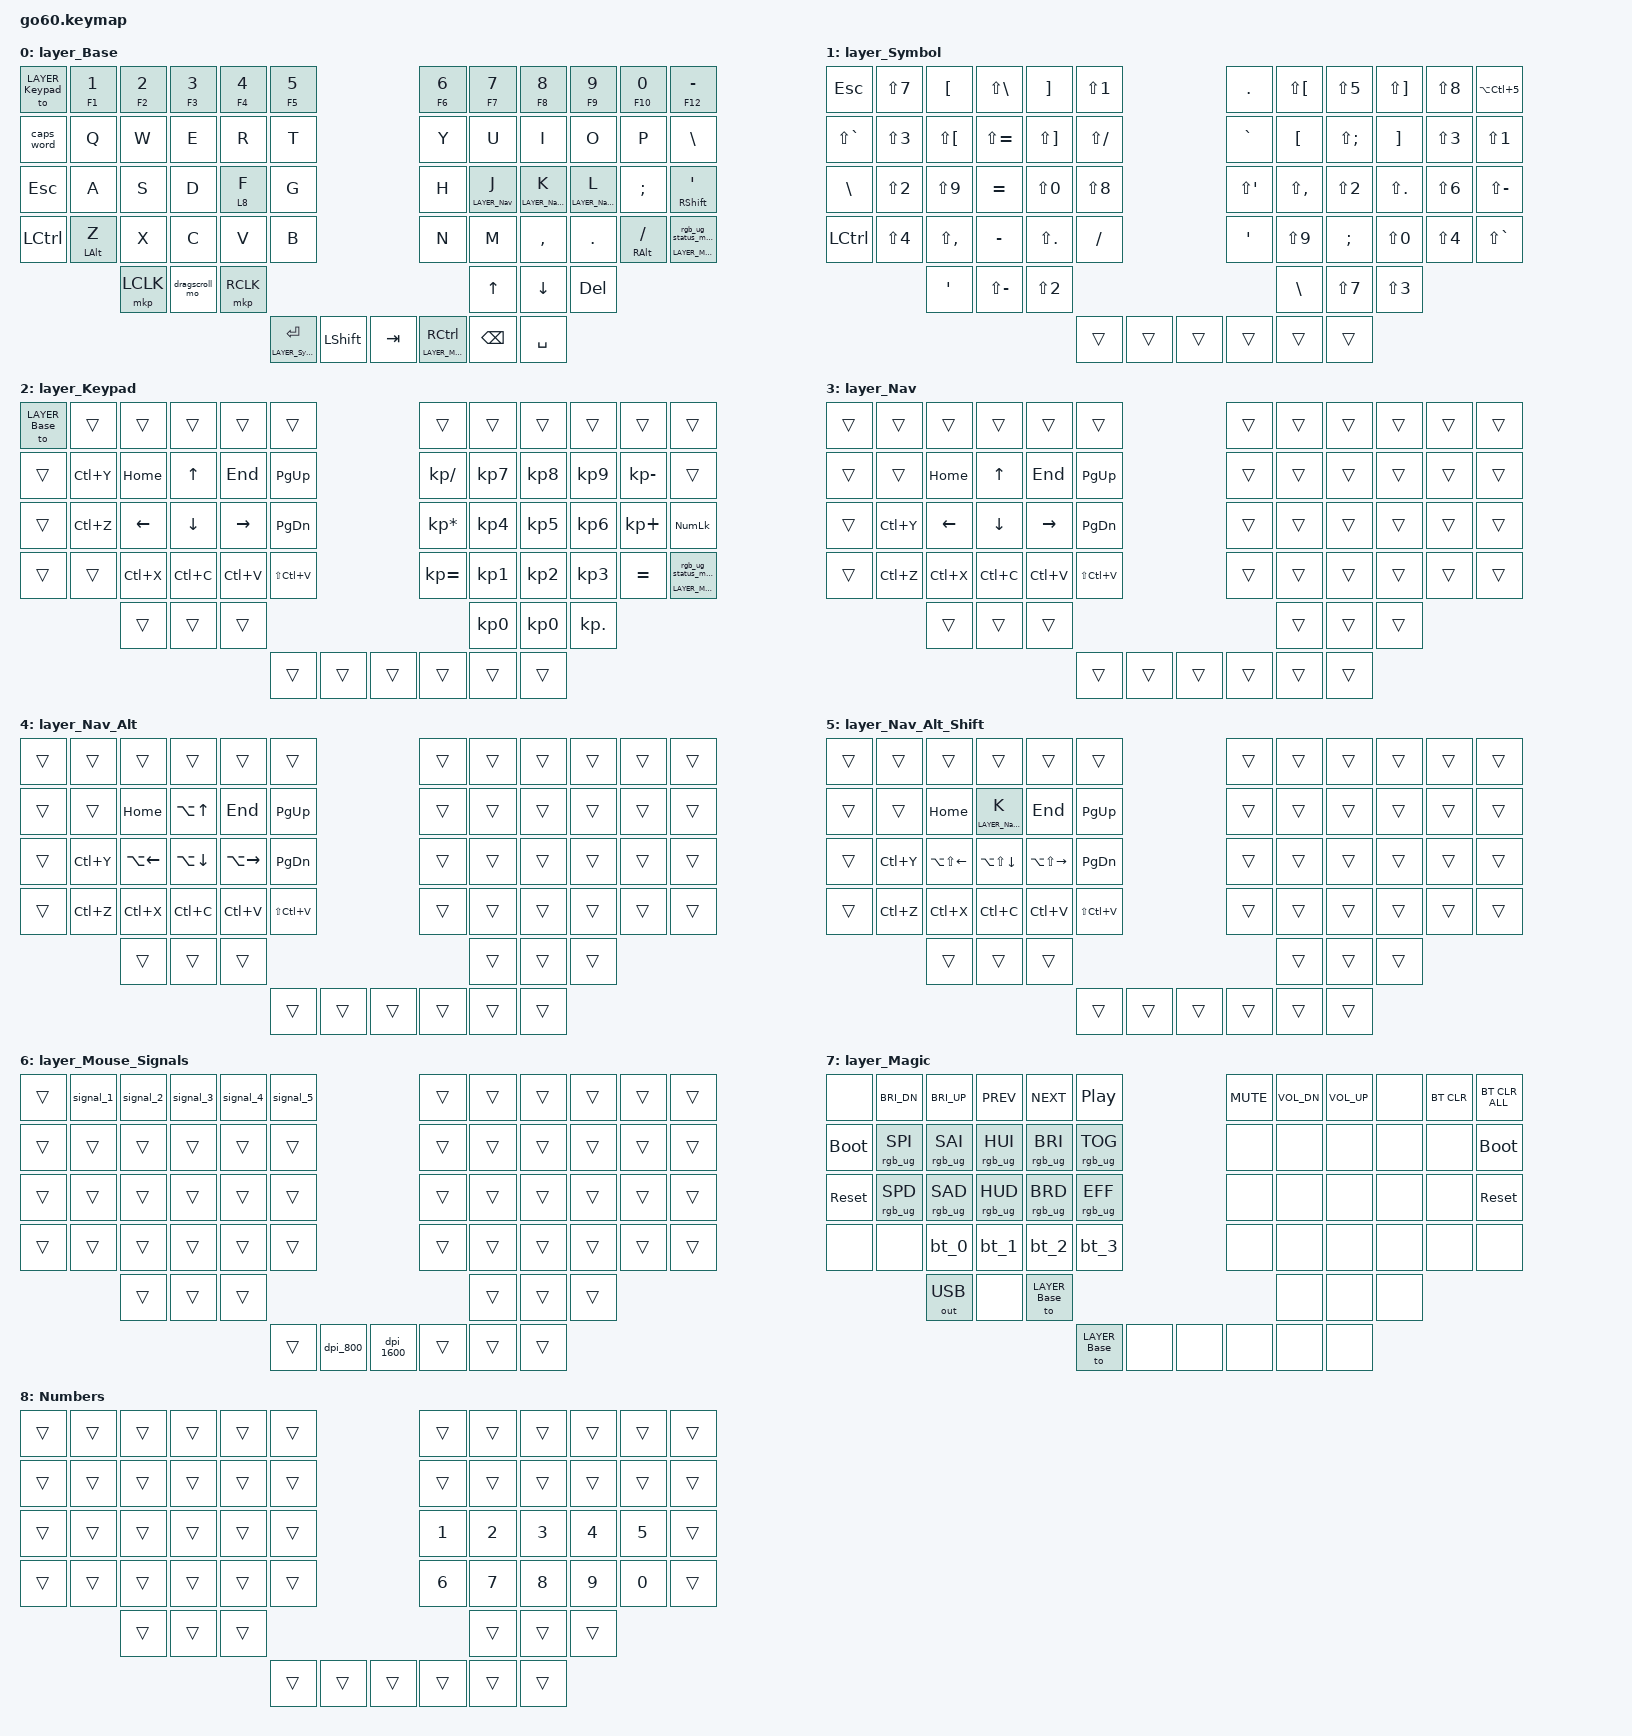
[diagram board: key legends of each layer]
/*
 * Copyright (c) 2020 The ZMK Contributors
 * Copyright (c) 2025 Innaworks Development Limited, trading as MoErgo
 *
 * SPDX-License-Identifier: MIT
 */


/* THIS FILE WAS GENERATED BY GO60 LAYOUT EDITOR
 *
 * This file was generated automatically. You may or may not want to
 * edit it directly.
 */

#include <behaviors.dtsi>

/* Include all behavior includes needed */

#include <dt-bindings/zmk/outputs.h>
#include <dt-bindings/zmk/keys.h>
#include <dt-bindings/zmk/bt.h>
#include <dt-bindings/zmk/rgb.h>

#include <input/processors.dtsi>
#include <dt-bindings/zmk/input_transform.h>
#include <zephyr/dt-bindings/input/input-event-codes.h>

/* On demand includes */
#include <dt-bindings/zmk/input_transform.h>
#include <dt-bindings/zmk/pointing.h>
#include <input/processors.dtsi>

/* Helper Macros, based on https://github.com/urob/zmk-helpers/ */

#pragma once

#define ZMK_HELPER_STRINGIFY(x) #x

// Preprocessor mechanism to overload macros, cf. https://stackoverflow.com/a/27051616/6114651
#define VARGS_(_10, _9, _8, _7, _6, _5, _4, _3, _2, _1, N, ...) N
#define VARGS(...) VARGS_(__VA_ARGS__, 10, 9, 8, 7, 6, 5, 4, 3, 2, 1, 0)
#define CONCAT_(a, b) a##b
#define CONCAT(a, b) CONCAT_(a, b)

#define ZMK_BEHAVIOR_CORE_tap_dance  \
    compatible = "zmk,behavior-tap-dance"; \
    #binding-cells = <0>

#define ZMK_BEHAVIOR(name, type, ...) \
    name: name { \
        ZMK_BEHAVIOR_CORE_ ## type; \
        __VA_ARGS__ \
    };

#define ZMK_TAP_DANCE(name, ...) \
    ZMK_BEHAVIOR(name, tap_dance, __VA_ARGS__)

#define ZMK_TD_LAYER(name, layer) \
    ZMK_TAP_DANCE(name, \
        tapping-term-ms = <200>; \
        bindings = <&mo layer>, <&to layer>; \
)





/* Key positions */

#define POS_LH_C6R1 0
#define POS_LH_C5R1 1
#define POS_LH_C4R1 2
#define POS_LH_C3R1 3
#define POS_LH_C2R1 4
#define POS_LH_C1R1 5
#define POS_RH_C1R1 6
#define POS_RH_C2R1 7
#define POS_RH_C3R1 8
#define POS_RH_C4R1 9
#define POS_RH_C5R1 10
#define POS_RH_C6R1 11
#define POS_LH_C6R2 12
#define POS_LH_C5R2 13
#define POS_LH_C4R2 14
#define POS_LH_C3R2 15
#define POS_LH_C2R2 16
#define POS_LH_C1R2 17
#define POS_RH_C1R2 18
#define POS_RH_C2R2 19
#define POS_RH_C3R2 20
#define POS_RH_C4R2 21
#define POS_RH_C5R2 22
#define POS_RH_C6R2 23
#define POS_LH_C6R3 24
#define POS_LH_C5R3 25
#define POS_LH_C4R3 26
#define POS_LH_C3R3 27
#define POS_LH_C2R3 28
#define POS_LH_C1R3 29
#define POS_RH_C1R3 30
#define POS_RH_C2R3 31
#define POS_RH_C3R3 32
#define POS_RH_C4R3 33
#define POS_RH_C5R3 34
#define POS_RH_C6R3 35
#define POS_LH_C6R4 36
#define POS_LH_C5R4 37
#define POS_LH_C4R4 38
#define POS_LH_C3R4 39
#define POS_LH_C2R4 40
#define POS_LH_C1R4 41
#define POS_RH_C1R4 42
#define POS_RH_C2R4 43
#define POS_RH_C3R4 44
#define POS_RH_C4R4 45
#define POS_RH_C5R4 46
#define POS_RH_C6R4 47
#define POS_LH_C4R5 48
#define POS_LH_C3R5 49
#define POS_LH_C2R5 50
#define POS_RH_C2R5 51
#define POS_RH_C3R5 52
#define POS_RH_C4R5 53
#define POS_LH_T1 54
#define POS_LH_T2 55
#define POS_LH_T3 56
#define POS_RH_T3 57
#define POS_RH_T2 58
#define POS_RH_T1 59


#define LEFT_HAND_KEYS \
  POS_LH_C1R1 POS_LH_C2R1 POS_LH_C3R1 POS_LH_C4R1 POS_LH_C5R1 POS_LH_C6R1 \
  POS_LH_C1R2 POS_LH_C2R2 POS_LH_C3R2 POS_LH_C4R2 POS_LH_C5R2 POS_LH_C6R2 \
  POS_LH_C1R3 POS_LH_C2R3 POS_LH_C3R3 POS_LH_C4R3 POS_LH_C5R3 POS_LH_C6R3 \
  POS_LH_C1R4 POS_LH_C2R4 POS_LH_C3R4 POS_LH_C4R4 POS_LH_C5R4 POS_LH_C6R4 \
              POS_LH_C2R5 POS_LH_C3R5 POS_LH_C4R5

#define RIGHT_HAND_KEYS \
  POS_RH_C1R1 POS_RH_C2R1 POS_RH_C3R1 POS_RH_C4R1 POS_RH_C5R1 POS_RH_C6R1 \
  POS_RH_C1R2 POS_RH_C2R2 POS_RH_C3R2 POS_RH_C4R2 POS_RH_C5R2 POS_RH_C6R2 \
  POS_RH_C1R3 POS_RH_C2R3 POS_RH_C3R3 POS_RH_C4R3 POS_RH_C5R3 POS_RH_C6R3 \
  POS_RH_C1R4 POS_RH_C2R4 POS_RH_C3R4 POS_RH_C4R4 POS_RH_C5R4 POS_RH_C6R4 \
              POS_RH_C2R5 POS_RH_C3R5 POS_RH_C4R5

#define THUMB_KEYS \
  POS_LH_T1 POS_LH_T2 POS_LH_T3 \
  POS_RH_T1 POS_RH_T2 POS_RH_T3

/* Environment and metadata defines */
#define KB_TYPE_GLOVE_80 1
#define KB_TYPE_GO_60    2

#define KB_TYPE          KB_TYPE_GO_60
#define EDITOR_LAYOUT_OS 'W'
#define EDITOR_HOST_OS   'M'

/* Automatically generated layer name defines */
#define LAYER_Base 0
#define LAYER_Symbol 1
#define LAYER_Keypad 2
#define LAYER_Nav 3
#define LAYER_Nav_Alt 4
#define LAYER_Nav_Alt_Shift 5
#define LAYER_Mouse_Signals 6
#define LAYER_Magic 7
#define LAYER_Numbers 8

/* To deal with the situation where there is no Lower layer, to keep &lower happy */
#ifndef LAYER_Lower
#define LAYER_Lower 0
#endif

/* Generated input processors */


/* Custom Device-tree */


/* Input Listeners */
&mmv_input_listener {
};

&msc_input_listener {
};

&cirque_lh_listener {
    input-processors = <&zip_xy_scaler 2 3>, <&zip_xy_transform INPUT_TRANSFORM_Y_INVERT>, <&zip_xy_to_scroll_mapper>;
};

&cirque_rh_listener {
};

/* System behavior and macros */
/ {
    behaviors {
        ZMK_TD_LAYER(lower, LAYER_Lower)
    };
};

/ {
    macros {
        rgb_ug_status_macro: rgb_ug_status_macro {
            label = "RGB_UG_STATUS";
            compatible = "zmk,behavior-macro";
            #binding-cells = <0>;
            bindings
                = <&rgb_ug RGB_STATUS>;
        };
    };
};

/ {
#ifdef BT_DISC_CMD
    behaviors {
        bt_0: bt_0 {
            compatible = "zmk,behavior-tap-dance";
            label = "BT_0";
            #binding-cells = <0>;
            tapping-term-ms = <200>;
            bindings = <&bt_select_0>, <&bt BT_DISC 0>;
        };
        bt_1: bt_1 {
            compatible = "zmk,behavior-tap-dance";
            label = "BT_1";
            #binding-cells = <0>;
            tapping-term-ms = <200>;
            bindings = <&bt_select_1>, <&bt BT_DISC 1>;
        };
        bt_2: bt_2 {
            compatible = "zmk,behavior-tap-dance";
            label = "BT_2";
            #binding-cells = <0>;
            tapping-term-ms = <200>;
            bindings = <&bt_select_2>, <&bt BT_DISC 2>;
        };
        bt_3: bt_3 {
            compatible = "zmk,behavior-tap-dance";
            label = "BT_3";
            #binding-cells = <0>;
            tapping-term-ms = <200>;
            bindings = <&bt_select_3>, <&bt BT_DISC 3>;
        };
    };
    macros {
        bt_select_0: bt_select_0 {
            label = "BT_SELECT_0";
            compatible = "zmk,behavior-macro";
            #binding-cells = <0>;
            bindings
                = <&out OUT_BLE>,
                  <&bt BT_SEL 0>;
        };
        bt_select_1: bt_select_1 {
            label = "BT_SELECT_1";
            compatible = "zmk,behavior-macro";
            #binding-cells = <0>;
            bindings
                = <&out OUT_BLE>,
                  <&bt BT_SEL 1>;
        };
        bt_select_2: bt_select_2 {
            label = "BT_SELECT_2";
            compatible = "zmk,behavior-macro";
            #binding-cells = <0>;
            bindings
                = <&out OUT_BLE>,
                  <&bt BT_SEL 2>;
        };
        bt_select_3: bt_select_3 {
            label = "BT_SELECT_3";
            compatible = "zmk,behavior-macro";
            #binding-cells = <0>;
            bindings
                = <&out OUT_BLE>,
                  <&bt BT_SEL 3>;
        };
    };
#else
    macros {
        bt_0: bt_0 {
            label = "BT_0";
            compatible = "zmk,behavior-macro";
            #binding-cells = <0>;
            bindings
                = <&out OUT_BLE>,
                  <&bt BT_SEL 0>;
        };
        bt_1: bt_1 {
            label = "BT_1";
            compatible = "zmk,behavior-macro";
            #binding-cells = <0>;
            bindings
                = <&out OUT_BLE>,
                  <&bt BT_SEL 1>;
        };
        bt_2: bt_2 {
            label = "BT_2";
            compatible = "zmk,behavior-macro";
            #binding-cells = <0>;
            bindings
                = <&out OUT_BLE>,
                  <&bt BT_SEL 2>;
        };
        bt_3: bt_3 {
            label = "BT_3";
            compatible = "zmk,behavior-macro";
            #binding-cells = <0>;
            bindings
                = <&out OUT_BLE>,
                  <&bt BT_SEL 3>;
        };
    };
#endif
};

/ {
    behaviors {
        magic: magic {
            compatible = "zmk,behavior-hold-tap";
            label = "MAGIC_HOLD_TAP";
            #binding-cells = <2>;
            flavor = "tap-preferred";
            tapping-term-ms = <200>;
            bindings = <&mo>, <&rgb_ug_status_macro>;
        };
    };
};


/* Custom Defined Behaviors */
/ {
        dpi_800:  dpi_800  { 
            compatible = "zmk,behavior-hid-viz-emit-fixed"; 
            #binding-cells = <0>; 
            action = "core.pointing.dpi.set";   
            value = <800>;  
        };
        dpi_1600: dpi_1600 { 
            compatible = "zmk,behavior-hid-viz-emit-fixed"; 
            #binding-cells = <0>; 
            action = "core.pointing.dpi.set";   
            value = <1600>; 
        };
        snipe_on: snipe_on { 
            compatible = "zmk,behavior-hid-viz-emit-fixed"; 
            #binding-cells = <0>; 
            action = "core.pointing.snipe.set"; 
            value = <1>;    
        };
        snipe_off: snipe_off {
            compatible = "zmk,behavior-hid-viz-emit-fixed";
            #binding-cells = <0>;
            action = "core.pointing.snipe.set";
            value = <0>;
        };
        snipe_mo: snipe_mo {
            compatible = "zmk,behavior-macro";
            #binding-cells = <0>;
            bindings = <&snipe_on>, <&macro_pause_for_release>, <&snipe_off>;
        };
        signal_1: signal_1 {
            compatible = "zmk,behavior-hid-signal-fixed";
            #binding-cells = <0>;
            id = <1>;
        };
        signal_2: signal_2 {
            compatible = "zmk,behavior-hid-signal-fixed";
            #binding-cells = <0>;
            id = <2>;
        };
        signal_3: signal_3 {
            compatible = "zmk,behavior-hid-signal-fixed";
            #binding-cells = <0>;
            id = <3>;
        };
        signal_4: signal_4 {
            compatible = "zmk,behavior-hid-signal-fixed";
            #binding-cells = <0>;
            id = <4>;
        };
        signal_5: signal_5 {
            compatible = "zmk,behavior-hid-signal-fixed";
            #binding-cells = <0>;
            id = <5>;
        };
        dragscroll_on: dragscroll_on { 
            compatible = "zmk,behavior-hid-viz-emit-fixed"; 
            #binding-cells = <0>; 
            action = "core.pointing.dragScroll.set"; 
            value = <1>;    
        };
        dragscroll_off: dragscroll_off {
            compatible = "zmk,behavior-hid-viz-emit-fixed";
            #binding-cells = <0>;
            action = "core.pointing.dragScroll.set";
            value = <0>;
        };
        dragscroll_mo: dragscroll_mo {
            compatible = "zmk,behavior-macro";
            #binding-cells = <0>;
            bindings = <&dragscroll_on>, <&macro_pause_for_release>, <&dragscroll_off>;
        };

};

/* Automatically generated macro definitions */
/ {
    macros {

        // Cursor Layer - Extent Line (seq) - TailorKey
        cur_EXTEND_LINE_v1_TKZ: cur_EXTEND_LINE_v1_TKZ {
            label = "&CUR_EXTEND_LINE_V1_TKZ";
            compatible = "zmk,behavior-macro";
            #binding-cells = <0>;
            tap-ms = <1>;
            wait-ms = <1>;
            bindings = <&kp LS(END)>;
        };

        // Cursor Layer - Extend Word (seq) - TailorKey
        cur_EXTEND_WORD_v1_TKZ: cur_EXTEND_WORD_v1_TKZ {
            label = "&CUR_EXTEND_WORD_V1_TKZ";
            compatible = "zmk,behavior-macro";
            #binding-cells = <0>;
            tap-ms = <1>;
            wait-ms = <1>;
            bindings = <&kp LC(LS(RIGHT))>;
        };

        // Cursor Layer - Select Line (seq) - TailorKey
        cur_SELECT_LINE_v1_TKZ: cur_SELECT_LINE_v1_TKZ {
            label = "&CUR_SELECT_LINE_V1_TKZ";
            compatible = "zmk,behavior-macro";
            #binding-cells = <0>;
            tap-ms = <1>;
            wait-ms = <1>;
            bindings = <&kp HOME>
                , <&kp LS(END)>;
        };

        // Cursor Layer - Select None (seq) - TailorKey
        cur_SELECT_NONE_v1_TKZ: cur_SELECT_NONE_v1_TKZ {
            label = "&CUR_SELECT_NONE_V1_TKZ";
            compatible = "zmk,behavior-macro";
            #binding-cells = <0>;
            tap-ms = <1>;
            wait-ms = <1>;
            bindings = <&kp DOWN>
                , <&kp UP>
                , <&kp RIGHT>
                , <&kp LEFT>;
        };

        // Cursor Layer - Select Word (seq) - TailorKey
        cur_SELECT_WORD_v1_TKZ: cur_SELECT_WORD_v1_TKZ {
            label = "&CUR_SELECT_WORD_V1_TKZ";
            compatible = "zmk,behavior-macro";
            #binding-cells = <0>;
            tap-ms = <1>;
            wait-ms = <1>;
            bindings = <&kp LC(LEFT)>
                , <&kp LC(LS(RIGHT))>;
        };

        // mod_tab_switcher_chord -  TailorKey
        mod_tab_chord_v2_TKZ: mod_tab_chord_v2_TKZ {
            label = "&MOD_TAB_CHORD_V2_TKZ";
            compatible = "zmk,behavior-macro-two-param";
            #binding-cells = <2>;
            tap-ms = <0>;
            wait-ms = <0>;
            bindings = <&macro_press>
                , <&macro_param_2to1>
                , <&mo MACRO_PLACEHOLDER>
                , <&macro_press>
                , <&macro_param_1to1>
                , <&mod_tab_v2_TKZ MACRO_PLACEHOLDER>
                , <&macro_pause_for_release>
                , <&macro_release>
                , <&macro_param_1to1>
                , <&mod_tab_v2_TKZ MACRO_PLACEHOLDER>
                , <&macro_release>
                , <&macro_param_2to1>
                , <&mo MACRO_PLACEHOLDER>;
        };

        // mod_tab_switcher - TailorKey
        //
        //
        mod_tab_v2_TKZ: mod_tab_v2_TKZ {
            label = "&MOD_TAB_V2_TKZ";
            compatible = "zmk,behavior-macro-one-param";
            #binding-cells = <1>;
            tap-ms = <0>;
            wait-ms = <0>;
            bindings = <&macro_press>
                , <&macro_param_1to1>
                , <&kp MACRO_PLACEHOLDER>
                , <&macro_tap>
                , <&kp TAB>
                , <&macro_pause_for_release>
                , <&macro_release>
                , <&macro_param_1to1>
                , <&kp MACRO_PLACEHOLDER>;
        };

        // Symbol layer dot dot
        symb_dotdot_v1_TKZ: symb_dotdot_v1_TKZ {
            label = "&SYMB_DOTDOT_V1_TKZ";
            compatible = "zmk,behavior-macro";
            #binding-cells = <0>;
            tap-ms = <0>;
            wait-ms = <0>;
            bindings = <&macro_tap>
                , <&kp DOT>
                , <&kp DOT>;
        };

        // Switch to momentary layer with extra key for layertracking/switching
        MoLayer: MoLayer {
            label = "&MOLAYER";
            compatible = "zmk,behavior-macro-two-param";
            #binding-cells = <2>;
            bindings = <&macro_press>
                , <&macro_param_1to1>
                , <&mo MACRO_PLACEHOLDER>
                , <&macro_param_2to1>
                , <&kp MACRO_PLACEHOLDER>
                , <&macro_pause_for_release>
                , <&macro_release>
                , <&macro_param_1to1>
                , <&mo MACRO_PLACEHOLDER>
                , <&macro_param_2to1>
                , <&kp MACRO_PLACEHOLDER>;
        };

        // Switch to momentary layer with extra key for layertracking/switching
        Tolayer: Tolayer {
            label = "&TOLAYER";
            compatible = "zmk,behavior-macro-two-param";
            #binding-cells = <2>;
            bindings = <&macro_press>
                , <&macro_param_1to1>
                , <&to MACRO_PLACEHOLDER>
                , <&macro_param_2to1>
                , <&kp MACRO_PLACEHOLDER>;
        };
    };
};

/* Automatically generated behavior definitions */
/ {
    behaviors {


        // Homerow Mod for the left index finger - TailorKey.
        // For advanced tuning of HRM values, see: https://docs.google.com/spreadsheets/d/1ESgObQelyz4lnKlfwLYsmofLJulOMK5RdGBsopLe2o8
        HRM_left_hand_v1_TKZ: HRM_left_hand_v1_TKZ {
            compatible = "zmk,behavior-hold-tap";
            #binding-cells = <2>;
            tapping-term-ms = <280>;
            bindings = <&kp>, <&kp>;
            flavor = "balanced";
            quick-tap-ms = <175>;
            require-prior-idle-ms = <150>;
            hold-trigger-key-positions = <POS_RH_T3 POS_RH_T2 POS_RH_T1 POS_RH_C1R1 POS_RH_C2R1 POS_RH_C3R1 POS_RH_C4R1 POS_RH_C5R1 POS_RH_C1R2 POS_RH_C2R2 POS_RH_C3R2 POS_RH_C4R2 POS_RH_C5R2 POS_RH_C1R3 POS_RH_C2R3 POS_RH_C3R3 POS_RH_C4R3 POS_RH_C5R3 POS_RH_C1R4 POS_RH_C2R4 POS_RH_C3R4 POS_RH_C4R4 POS_RH_C5R4 POS_RH_C2R5 POS_RH_C3R5 POS_RH_C4R5 POS_RH_C6R1 POS_RH_C6R2 POS_RH_C6R3 POS_RH_C6R4 POS_LH_T2 POS_LH_T3 POS_LH_T1>;
            hold-trigger-on-release;
        };

        // Homerow Mod for the right index finger - TailorKey
        HRM_right_hand_v1_TKZ: HRM_right_hand_v1_TKZ {
            compatible = "zmk,behavior-hold-tap";
            #binding-cells = <2>;
            tapping-term-ms = <280>;
            bindings = <&kp>, <&kp>;
            flavor = "balanced";
            quick-tap-ms = <175>;
            require-prior-idle-ms = <150>;
            hold-trigger-key-positions = <POS_LH_T3 POS_LH_T2 POS_LH_T1 POS_LH_C6R1 POS_LH_C5R1 POS_LH_C4R1 POS_LH_C3R1 POS_LH_C2R1 POS_LH_C6R2 POS_LH_C5R2 POS_LH_C4R2 POS_LH_C3R2 POS_LH_C2R2 POS_LH_C1R2 POS_LH_C6R3 POS_LH_C5R3 POS_LH_C4R3 POS_LH_C3R3 POS_LH_C2R3 POS_LH_C1R3 POS_LH_C6R4 POS_LH_C5R4 POS_LH_C4R4 POS_LH_C3R4 POS_LH_C2R4 POS_LH_C1R4 POS_LH_C4R5 POS_LH_C3R5 POS_LH_C2R5 POS_LH_C1R1 POS_RH_T3 POS_RH_T2 POS_RH_T1>;
            hold-trigger-on-release;
        };
    };
};

/* Automatically generated combos definitions */
/ {
    combos {
        compatible = "zmk,combos";

        combo_Space {
            key-positions = <POS_LH_T2 POS_LH_T3>;
            bindings = <&kp SPACE>;
        };

        combo_snipe3 {
            key-positions = <POS_LH_C4R5 POS_LH_C2R5>;
            bindings = <&snipe_mo>;
        };
    };
};

/* Automatically generated keymap */
/ {
    keymap {
        compatible = "zmk,keymap";


        layer_Base {
            bindings = <
 &to LAYER_Keypad                     &mt F1 N1  &mt F2 N2       &mt F3 N3  &mt F4 N4  &mt F5 N5                                                                                                &mt F6 N6        &mt F7 N7            &mt F8 N8                  &mt F9 N9                        &mt F10 N0                     &mt F12 MINUS
       &caps_word                         &kp Q      &kp W           &kp E      &kp R      &kp T                                                                                                    &kp Y            &kp U                &kp I                      &kp O                             &kp P                          &kp BSLH
          &kp ESC                         &kp A      &kp S           &kp D      &lt 8 F    &kp G                                                                                                    &kp H  &lt LAYER_Nav J  &lt LAYER_Nav_Alt K  &lt LAYER_Nav_Alt_Shift L                          &kp SEMI  &HRM_right_hand_v1_TKZ RSHFT SQT
        &kp LCTRL  &HRM_left_hand_v1_TKZ LALT Z      &kp X           &kp C      &kp V      &kp B                                                                                                    &kp N            &kp M            &kp COMMA                    &kp DOT  &HRM_right_hand_v1_TKZ RALT FSLH              &magic LAYER_Magic 0
                                                 &mkp LCLK  &dragscroll_mo  &mkp RCLK                                                                                                                               &kp UP             &kp DOWN                    &kp DEL
                                                                                                  &lt LAYER_Symbol RET  &kp LSHFT  &kp TAB  &lt LAYER_Mouse_Signals RCTRL  &kp BSPC  &kp SPACE
            >;
        };

        layer_Symbol {
            bindings = <
       &kp ESC  &kp LS(N7)       &kp LBKT   &kp LS(BSLH)      &kp RBKT    &kp LS(N1)                                                               &kp DOT   &kp LS(LBKT)    &kp LS(N5)  &kp LS(RBKT)  &kp LS(N8)  &kp LA(LC(N5))
 &kp LS(GRAVE)  &kp LS(N3)   &kp LS(LBKT)  &kp LS(EQUAL)  &kp LS(RBKT)  &kp LS(FSLH)                                                             &kp GRAVE       &kp LBKT  &kp LS(SEMI)      &kp RBKT  &kp LS(N3)      &kp LS(N1)
      &kp BSLH  &kp LS(N2)     &kp LS(N9)      &kp EQUAL    &kp LS(N0)    &kp LS(N8)                                                  &kp LS(SINGLE_QUOTE)  &kp LS(COMMA)    &kp LS(N2)   &kp LS(DOT)  &kp LS(N6)   &kp LS(MINUS)
     &kp LCTRL  &kp LS(N4)  &kp LS(COMMA)      &kp MINUS   &kp LS(DOT)      &kp FSLH                                                               &kp SQT     &kp LS(N9)      &kp SEMI    &kp LS(N0)  &kp LS(N4)   &kp LS(GRAVE)
                                  &kp SQT  &kp LS(MINUS)    &kp LS(N2)                                                                                           &kp BSLH    &kp LS(N7)    &kp LS(N3)
                                                                                      &trans  &trans  &trans  &trans  &trans  &trans
            >;
        };

        layer_Keypad {
            bindings = <
 &to LAYER_Base     &trans     &trans     &trans     &trans         &trans                                                           &trans     &trans     &trans      &trans        &trans                &trans
         &trans  &kp LC(Y)   &kp HOME     &kp UP    &kp END      &kp PG_UP                                                     &kp KP_SLASH  &kp KP_N7  &kp KP_N8   &kp KP_N9  &kp KP_MINUS                &trans
         &trans  &kp LC(Z)   &kp LEFT   &kp DOWN  &kp RIGHT      &kp PG_DN                                                  &kp KP_MULTIPLY  &kp KP_N4  &kp KP_N5   &kp KP_N6   &kp KP_PLUS            &kp KP_NUM
         &trans     &trans  &kp LC(X)  &kp LC(C)  &kp LC(V)  &kp LS(LC(V))                                                     &kp KP_EQUAL  &kp KP_N1  &kp KP_N2   &kp KP_N3     &kp EQUAL  &magic LAYER_Magic 0
                               &trans     &trans     &trans                                                                                  &kp KP_N0  &kp KP_N0  &kp KP_DOT
                                                                            &trans  &trans  &trans  &trans  &trans  &trans
            >;
        };

        layer_Nav {
            bindings = <
 &trans     &trans     &trans     &trans     &trans         &trans                                                  &trans  &trans  &trans  &trans  &trans  &trans
 &trans     &trans   &kp HOME     &kp UP    &kp END      &kp PG_UP                                                  &trans  &trans  &trans  &trans  &trans  &trans
 &trans  &kp LC(Y)   &kp LEFT   &kp DOWN  &kp RIGHT      &kp PG_DN                                                  &trans  &trans  &trans  &trans  &trans  &trans
 &trans  &kp LC(Z)  &kp LC(X)  &kp LC(C)  &kp LC(V)  &kp LS(LC(V))                                                  &trans  &trans  &trans  &trans  &trans  &trans
                       &trans     &trans     &trans                                                                         &trans  &trans  &trans
                                                                    &trans  &trans  &trans  &trans  &trans  &trans
            >;
        };

        layer_Nav_Alt {
            bindings = <
 &trans     &trans        &trans        &trans         &trans         &trans                                                  &trans  &trans  &trans  &trans  &trans  &trans
 &trans     &trans      &kp HOME    &kp LA(UP)        &kp END      &kp PG_UP                                                  &trans  &trans  &trans  &trans  &trans  &trans
 &trans  &kp LC(Y)  &kp LA(LEFT)  &kp LA(DOWN)  &kp LA(RIGHT)      &kp PG_DN                                                  &trans  &trans  &trans  &trans  &trans  &trans
 &trans  &kp LC(Z)     &kp LC(X)     &kp LC(C)      &kp LC(V)  &kp LS(LC(V))                                                  &trans  &trans  &trans  &trans  &trans  &trans
                          &trans        &trans         &trans                                                                         &trans  &trans  &trans
                                                                              &trans  &trans  &trans  &trans  &trans  &trans
            >;
        };

        layer_Nav_Alt_Shift {
            bindings = <
 &trans     &trans            &trans               &trans             &trans         &trans                                                  &trans  &trans  &trans  &trans  &trans  &trans
 &trans     &trans          &kp HOME  &lt LAYER_Nav_Alt K            &kp END      &kp PG_UP                                                  &trans  &trans  &trans  &trans  &trans  &trans
 &trans  &kp LC(Y)  &kp LA(LS(LEFT))     &kp LA(LS(DOWN))  &kp LA(LS(RIGHT))      &kp PG_DN                                                  &trans  &trans  &trans  &trans  &trans  &trans
 &trans  &kp LC(Z)         &kp LC(X)            &kp LC(C)          &kp LC(V)  &kp LS(LC(V))                                                  &trans  &trans  &trans  &trans  &trans  &trans
                              &trans               &trans             &trans                                                                         &trans  &trans  &trans
                                                                                             &trans  &trans  &trans  &trans  &trans  &trans
            >;
        };

        layer_Mouse_Signals {
            bindings = <
 &trans  &signal_1  &signal_2  &signal_3  &signal_4  &signal_5                                                       &trans  &trans  &trans  &trans  &trans  &trans
 &trans     &trans     &trans     &trans     &trans     &trans                                                       &trans  &trans  &trans  &trans  &trans  &trans
 &trans     &trans     &trans     &trans     &trans     &trans                                                       &trans  &trans  &trans  &trans  &trans  &trans
 &trans     &trans     &trans     &trans     &trans     &trans                                                       &trans  &trans  &trans  &trans  &trans  &trans
                       &trans     &trans     &trans                                                                          &trans  &trans  &trans
                                                                &trans  &dpi_800  &dpi_1600  &trans  &trans  &trans
            >;
        };

        layer_Magic {
            bindings = <
       &none     &kp C_BRI_DN     &kp C_BRI_UP       &kp C_PREV       &kp C_NEXT         &kp C_PP                                                          &kp C_MUTE  &kp C_VOL_DN  &kp C_VOL_UP   &none  &bt BT_CLR  &bt BT_CLR_ALL
 &bootloader  &rgb_ug RGB_SPI  &rgb_ug RGB_SAI  &rgb_ug RGB_HUI  &rgb_ug RGB_BRI  &rgb_ug RGB_TOG                                                               &none         &none         &none   &none       &none     &bootloader
  &sys_reset  &rgb_ug RGB_SPD  &rgb_ug RGB_SAD  &rgb_ug RGB_HUD  &rgb_ug RGB_BRD  &rgb_ug RGB_EFF                                                               &none         &none         &none   &none       &none      &sys_reset
       &none            &none            &bt_0            &bt_1            &bt_2            &bt_3                                                               &none         &none         &none   &none       &none           &none
                                  &out OUT_USB            &none   &to LAYER_Base                                                                                              &none         &none   &none
                                                                                                   &to LAYER_Base   &none   &none   &none   &none   &none
            >;
        };

        layer_Numbers {
            display-name = "Numbers";
            bindings = <
            &trans  &trans  &trans  &trans  &trans  &trans  &trans  &trans  &trans  &trans  &trans  &trans
            &trans  &trans  &trans  &trans  &trans  &trans  &trans  &trans  &trans  &trans  &trans  &trans
            &trans  &trans  &trans  &trans  &trans  &trans  &kp N1  &kp N2  &kp N3  &kp N4  &kp N5  &trans
            &trans  &trans  &trans  &trans  &trans  &trans  &kp N6  &kp N7  &kp N8  &kp N9  &kp N0  &trans
            &trans  &trans  &trans  &trans  &trans  &trans
            &trans  &trans  &trans  &trans  &trans  &trans
            >;
        };

    };
};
